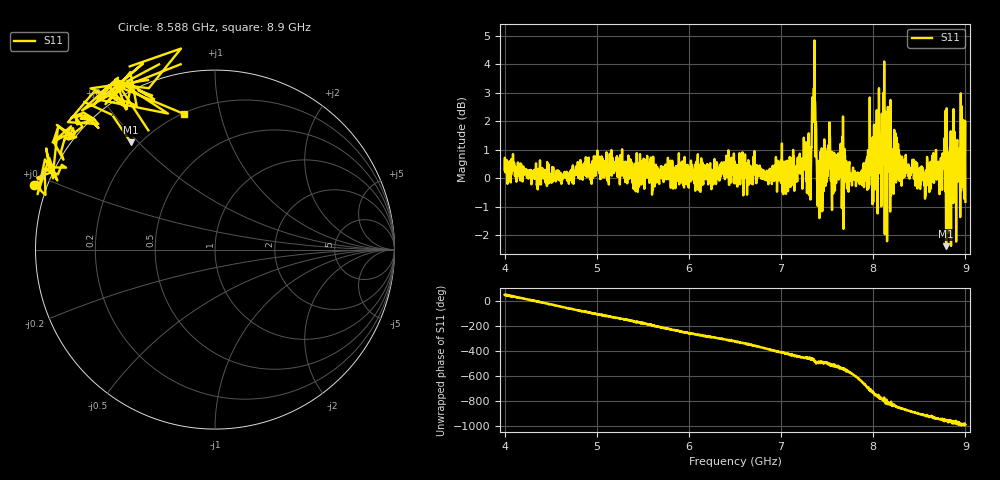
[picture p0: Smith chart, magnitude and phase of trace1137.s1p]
! Created with skrf 1.8.0 (http://scikit-rf.org).
# Hz S RI R 50.0
!freq ReS11 ImS11
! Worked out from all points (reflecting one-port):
!   1601 points, 4 GHz to 9 GHz, reference 50 ohm
!   lowest |S11| = -2.4 dB at 8.791 GHz (marker M1), VSWR 7.36, Z = 8.37 + j23.8 ohm
!   phase of S11 starts at 50 deg and turns -1040 deg over the sweep
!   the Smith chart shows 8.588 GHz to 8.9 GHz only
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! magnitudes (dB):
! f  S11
! 4 GHz  0.3
! 4.625 GHz  -0.1
! 5.25 GHz  -0.2
! 5.875 GHz  0.3
! 6.5 GHz  0.3
! 7.125 GHz  0.4
! 7.297 GHz  1.3
! 7.356 GHz  3.2
! 7.388 GHz  0.5
! 7.397 GHz  -1.0
! 7.422 GHz  -1.2
! 7.512 GHz  1.2
! 7.562 GHz  0.1
! 7.669 GHz  1.1
! 7.75 GHz  0.1
! 7.997 GHz  -0.2
! 8.05 GHz  1.5
! 8.066 GHz  0.4
! 8.119 GHz  4.1
! 8.178 GHz  2.5
! 8.209 GHz  0.4
! 8.375 GHz  0.4
! 8.556 GHz  -0.3
! 8.791 GHz  -2.4
! 8.897 GHz  0.7
! 8.919 GHz  0.4
! 8.972 GHz  0.5
! 9 GHz  -0.8
